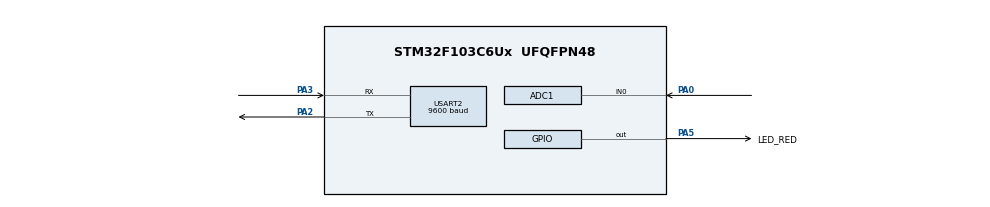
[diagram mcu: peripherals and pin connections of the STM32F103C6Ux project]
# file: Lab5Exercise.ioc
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ADC1.Channel-0\#ChannelRegularConversion=ADC_CHANNEL_0
ADC1.ContinuousConvMode=ENABLE
ADC1.NbrOfConversionFlag=1
ADC1.Rank-0\#ChannelRegularConversion=1
ADC1.SamplingTime-0\#ChannelRegularConversion=ADC_SAMPLETIME_1CYCLE_5
ADC1.master=1
Mcu.Family=STM32F1
Mcu.Name=STM32F103C6Ux
Mcu.Package=UFQFPN48
NVIC.ADC1_2_IRQn=true\:0\:0\:false\:false\:true\:true\:true
NVIC.PriorityGroup=NVIC_PRIORITYGROUP_4
NVIC.USART2_IRQn=true\:0\:0\:false\:false\:true\:true\:true
PA0-WKUP.Signal=ADCx_IN0
PA2.Mode=Asynchronous
PA2.Signal=USART2_TX
PA3.Mode=Asynchronous
PA3.Signal=USART2_RX
PA5.GPIO_Label=LED_RED
PA5.Signal=GPIO_Output
ProjectManager.HeapSize=0x200
ProjectManager.StackSize=0x400
ProjectManager.TargetToolchain=STM32CubeIDE
RCC.APB1Freq_Value=8000000
RCC.APB2Freq_Value=8000000
SH.ADCx_IN0.0=ADC1_IN0,IN0
USART2.BaudRate=9600
USART2.VirtualMode=VM_ASYNC
VP_SYS_VS_ND.Mode=No_Debug
board=custom

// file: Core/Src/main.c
/* USER CODE BEGIN Header */
/**
  ******************************************************************************
  * @file           : main.c
  * @brief          : Main program body
  ******************************************************************************
  * @attention
  *
  * <h2><center>&copy; Copyright (c) 2025 STMicroelectronics.
  * All rights reserved.</center></h2>
  *
  * This software component is licensed by ST under BSD 3-Clause license,
  * the "License"; You may not use this file except in compliance with the
  * License. You may obtain a copy of the License at:
  *                        opensource.org/licenses/BSD-3-Clause
  *
  ******************************************************************************
  */
/* USER CODE END Header */

#include "main.h"

/* USER CODE BEGIN Includes */

#include <stdio.h>
#include <string.h>

#include "fsm.h"

/* USER CODE END Includes */

ADC_HandleTypeDef hadc1;

UART_HandleTypeDef huart2;

void SystemClock_Config(void);
static void MX_GPIO_Init(void);
static void MX_ADC1_Init(void);
static void MX_USART2_UART_Init(void);

/* USER CODE BEGIN 0 */

uint8_t temp = 0;

void HAL_UART_RxCpltCallback(UART_HandleTypeDef *huart) {
    if (huart->Instance == USART2)
    {
        command_parser_input(temp);
        HAL_UART_Receive_IT(&huart2, &temp, 1);
    }
}

/* USER CODE END 0 */

int main(void)
{

  /* MCU Configuration--------------------------------------------------------*/

  /* Reset of all peripherals, Initializes the Flash interface and the Systick. */
  HAL_Init();

  /* Configure the system clock */
  SystemClock_Config();

  /* Initialize all configured peripherals */
  MX_GPIO_Init();
  MX_ADC1_Init();
  MX_USART2_UART_Init();
  /* USER CODE BEGIN 2 */

  HAL_ADC_Start(&hadc1);
  HAL_UART_Receive_IT(&huart2, &temp, 1);

  command_parser_init();
  uart_communication_init();

  /* USER CODE END 2 */

  /* Infinite loop */
  while (1)
  {

    /* USER CODE BEGIN 3 */

	  command_parser_fsm();
	  uart_communication_fsm();

	  HAL_GPIO_TogglePin(LED_RED_GPIO_Port, LED_RED_Pin);
	  HAL_Delay(500);
  }
  /* USER CODE END 3 */
}

void SystemClock_Config(void)
{
  RCC_OscInitTypeDef RCC_OscInitStruct = {0};
  RCC_ClkInitTypeDef RCC_ClkInitStruct = {0};
  RCC_PeriphCLKInitTypeDef PeriphClkInit = {0};

  /** Initializes the RCC Oscillators according to the specified parameters
  * in the RCC_OscInitTypeDef structure.
  */
  RCC_OscInitStruct.OscillatorType = RCC_OSCILLATORTYPE_HSI;
  RCC_OscInitStruct.HSIState = RCC_HSI_ON;
  RCC_OscInitStruct.HSICalibrationValue = RCC_HSICALIBRATION_DEFAULT;
  RCC_OscInitStruct.PLL.PLLState = RCC_PLL_NONE;
  if (HAL_RCC_OscConfig(&RCC_OscInitStruct) != HAL_OK)
  {
    Error_Handler();
  }
  /** Initializes the CPU, AHB and APB buses clocks
  */
  RCC_ClkInitStruct.ClockType = RCC_CLOCKTYPE_HCLK|RCC_CLOCKTYPE_SYSCLK
                              |RCC_CLOCKTYPE_PCLK1|RCC_CLOCKTYPE_PCLK2;
  RCC_ClkInitStruct.SYSCLKSource = RCC_SYSCLKSOURCE_HSI;
  RCC_ClkInitStruct.AHBCLKDivider = RCC_SYSCLK_DIV1;
  RCC_ClkInitStruct.APB1CLKDivider = RCC_HCLK_DIV1;
  RCC_ClkInitStruct.APB2CLKDivider = RCC_HCLK_DIV1;

  if (HAL_RCC_ClockConfig(&RCC_ClkInitStruct, FLASH_LATENCY_0) != HAL_OK)
  {
    Error_Handler();
  }
  PeriphClkInit.PeriphClockSelection = RCC_PERIPHCLK_ADC;
  PeriphClkInit.AdcClockSelection = RCC_ADCPCLK2_DIV2;
  if (HAL_RCCEx_PeriphCLKConfig(&PeriphClkInit) != HAL_OK)
  {
    Error_Handler();
  }
}

static void MX_ADC1_Init(void)
{

  ADC_ChannelConfTypeDef sConfig = {0};

  /** Common config
  */
  hadc1.Instance = ADC1;
  hadc1.Init.ScanConvMode = ADC_SCAN_DISABLE;
  hadc1.Init.ContinuousConvMode = ENABLE;
  hadc1.Init.DiscontinuousConvMode = DISABLE;
  hadc1.Init.ExternalTrigConv = ADC_SOFTWARE_START;
  hadc1.Init.DataAlign = ADC_DATAALIGN_RIGHT;
  hadc1.Init.NbrOfConversion = 1;
  if (HAL_ADC_Init(&hadc1) != HAL_OK)
  {
    Error_Handler();
  }
  /** Configure Regular Channel
  */
  sConfig.Channel = ADC_CHANNEL_0;
  sConfig.Rank = ADC_REGULAR_RANK_1;
  sConfig.SamplingTime = ADC_SAMPLETIME_1CYCLE_5;
  if (HAL_ADC_ConfigChannel(&hadc1, &sConfig) != HAL_OK)
  {
    Error_Handler();
  }

}

static void MX_USART2_UART_Init(void)
{

  huart2.Instance = USART2;
  huart2.Init.BaudRate = 9600;
  huart2.Init.WordLength = UART_WORDLENGTH_8B;
  huart2.Init.StopBits = UART_STOPBITS_1;
  huart2.Init.Parity = UART_PARITY_NONE;
  huart2.Init.Mode = UART_MODE_TX_RX;
  huart2.Init.HwFlowCtl = UART_HWCONTROL_NONE;
  huart2.Init.OverSampling = UART_OVERSAMPLING_16;
  if (HAL_UART_Init(&huart2) != HAL_OK)
  {
    Error_Handler();
  }

}

static void MX_GPIO_Init(void)
{
  GPIO_InitTypeDef GPIO_InitStruct = {0};

  /* GPIO Ports Clock Enable */
  __HAL_RCC_GPIOA_CLK_ENABLE();

  /*Configure GPIO pin Output Level */
  HAL_GPIO_WritePin(LED_RED_GPIO_Port, LED_RED_Pin, GPIO_PIN_RESET);

  /*Configure GPIO pin : LED_RED_Pin */
  GPIO_InitStruct.Pin = LED_RED_Pin;
  GPIO_InitStruct.Mode = GPIO_MODE_OUTPUT_PP;
  GPIO_InitStruct.Pull = GPIO_NOPULL;
  GPIO_InitStruct.Speed = GPIO_SPEED_FREQ_LOW;
  HAL_GPIO_Init(LED_RED_GPIO_Port, &GPIO_InitStruct);

}

void Error_Handler(void)
{
  __disable_irq();
  while (1)
  {
  }
}

/************************ (C) COPYRIGHT STMicroelectronics *****END OF FILE****/
